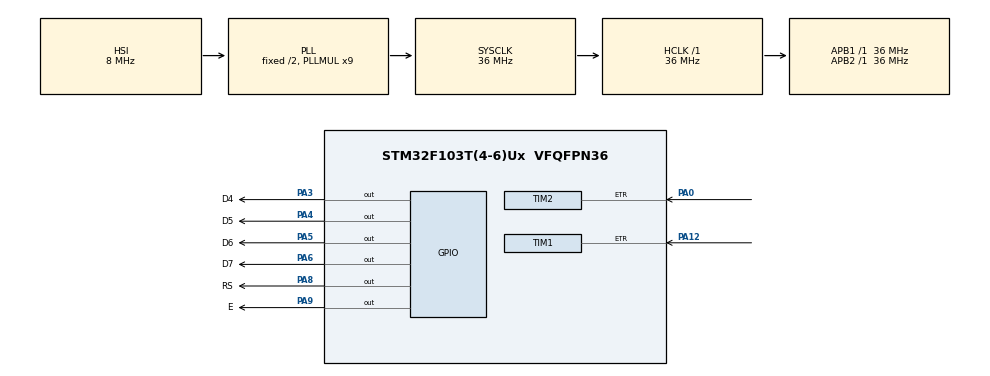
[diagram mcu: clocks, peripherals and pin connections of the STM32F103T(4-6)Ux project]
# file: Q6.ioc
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Mcu.Family=STM32F1
Mcu.Name=STM32F103T(4-6)Ux
Mcu.Package=VFQFPN36
NVIC.PriorityGroup=NVIC_PRIORITYGROUP_4
PA0-WKUP.Signal=S_TIM2_CH1_ETR
PA12.Signal=S_TIM1_ETR
PA3.GPIO_Label=D4
PA3.Signal=GPIO_Output
PA4.GPIO_Label=D5
PA4.Signal=GPIO_Output
PA5.GPIO_Label=D6
PA5.Signal=GPIO_Output
PA6.GPIO_Label=D7
PA6.Signal=GPIO_Output
PA8.GPIO_Label=RS
PA8.Signal=GPIO_Output
PA9.GPIO_Label=E
PA9.Signal=GPIO_Output
ProjectManager.HeapSize=0x200
ProjectManager.StackSize=0x400
ProjectManager.TargetToolchain=STM32CubeIDE
RCC.AHBFreq_Value=36000000
RCC.APB1Freq_Value=36000000
RCC.APB1TimFreq_Value=36000000
RCC.APB2Freq_Value=36000000
RCC.APB2TimFreq_Value=36000000
RCC.HCLKFreq_Value=36000000
RCC.PLLMUL=RCC_PLL_MUL9
RCC.SYSCLKFreq_VALUE=36000000
RCC.SYSCLKSource=RCC_SYSCLKSOURCE_PLLCLK
RCC.USBFreq_Value=36000000
SH.S_TIM1_ETR.0=TIM1_ETR,ClockSourceETR_Mode2
SH.S_TIM2_CH1_ETR.0=TIM2_ETR,ClockSourceETR_Mode2
VP_SYS_VS_ND.Mode=No_Debug
board=custom

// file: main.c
/* USER CODE BEGIN Header */
/**
  ******************************************************************************
  * @file           : main.c
  * @brief          : Main program body
  ******************************************************************************
  * @attention
  *
  * Copyright (c) 2022 STMicroelectronics.
  * All rights reserved.
  *
  * This software is licensed under terms that can be found in the LICENSE file
  * in the root directory of this software component.
  * If no LICENSE file comes with this software, it is provided AS-IS.
  *
  ******************************************************************************
  */
/* USER CODE END Header */
#include "main.h"

/* USER CODE BEGIN Includes */
#include "lcd.h"
#include "stdio.h"
/* USER CODE END Includes */

 TIM_HandleTypeDef htim1;
TIM_HandleTypeDef htim2;

void SystemClock_Config(void);
static void MX_GPIO_Init(void);
static void MX_TIM1_Init(void);
static void MX_TIM2_Init(void);

int main(void)
{

  /* MCU Configuration--------------------------------------------------------*/

  /* Reset of all peripherals, Initializes the Flash interface and the Systick. */
  HAL_Init();

  /* Configure the system clock */
  SystemClock_Config();

  /* Initialize all configured peripherals */
  MX_GPIO_Init();
  MX_TIM1_Init();
  MX_TIM2_Init();
  /* USER CODE BEGIN 2 */
  Lcd_PortType ports [] = {
    		D4_GPIO_Port, D5_GPIO_Port, D6_GPIO_Port, D7_GPIO_Port
    };
  Lcd_PinType pins [] = {
    		D4_Pin, D5_Pin, D6_Pin, D7_Pin
    };

  Lcd_HandleTypeDef lcd = Lcd_create(ports, pins, RS_GPIO_Port, RS_Pin, E_GPIO_Port, E_Pin, LCD_4_BIT_MODE);
  Lcd_cursor(&lcd, 0, 0);
  __HAL_TIM_SetCounter(&htim1, 0);
  HAL_TIM_Base_Start(&htim1);

  /* USER CODE END 2 */

  /* Infinite loop */
  /* USER CODE BEGIN WHILE */
  while (1)
  {
	  int count = __HAL_TIM_GetCounter(&htim1);
	  Lcd_clear(&lcd);
	  Lcd_int(&lcd, count);
    /* USER CODE END WHILE */

  }
}

void SystemClock_Config(void)
{
  RCC_OscInitTypeDef RCC_OscInitStruct = {0};
  RCC_ClkInitTypeDef RCC_ClkInitStruct = {0};

  /** Initializes the RCC Oscillators according to the specified parameters
  * in the RCC_OscInitTypeDef structure.
  */
  RCC_OscInitStruct.OscillatorType = RCC_OSCILLATORTYPE_HSI;
  RCC_OscInitStruct.HSIState = RCC_HSI_ON;
  RCC_OscInitStruct.HSICalibrationValue = RCC_HSICALIBRATION_DEFAULT;
  RCC_OscInitStruct.PLL.PLLState = RCC_PLL_ON;
  RCC_OscInitStruct.PLL.PLLSource = RCC_PLLSOURCE_HSI_DIV2;
  RCC_OscInitStruct.PLL.PLLMUL = RCC_PLL_MUL9;
  if (HAL_RCC_OscConfig(&RCC_OscInitStruct) != HAL_OK)
  {
    Error_Handler();
  }

  /** Initializes the CPU, AHB and APB buses clocks
  */
  RCC_ClkInitStruct.ClockType = RCC_CLOCKTYPE_HCLK|RCC_CLOCKTYPE_SYSCLK
                              |RCC_CLOCKTYPE_PCLK1|RCC_CLOCKTYPE_PCLK2;
  RCC_ClkInitStruct.SYSCLKSource = RCC_SYSCLKSOURCE_PLLCLK;
  RCC_ClkInitStruct.AHBCLKDivider = RCC_SYSCLK_DIV1;
  RCC_ClkInitStruct.APB1CLKDivider = RCC_HCLK_DIV1;
  RCC_ClkInitStruct.APB2CLKDivider = RCC_HCLK_DIV1;

  if (HAL_RCC_ClockConfig(&RCC_ClkInitStruct, FLASH_LATENCY_1) != HAL_OK)
  {
    Error_Handler();
  }
}

static void MX_TIM1_Init(void)
{

  TIM_ClockConfigTypeDef sClockSourceConfig = {0};
  TIM_MasterConfigTypeDef sMasterConfig = {0};

  htim1.Instance = TIM1;
  htim1.Init.Prescaler = 0;
  htim1.Init.CounterMode = TIM_COUNTERMODE_UP;
  htim1.Init.Period = 65535;
  htim1.Init.ClockDivision = TIM_CLOCKDIVISION_DIV1;
  htim1.Init.RepetitionCounter = 0;
  htim1.Init.AutoReloadPreload = TIM_AUTORELOAD_PRELOAD_DISABLE;
  if (HAL_TIM_Base_Init(&htim1) != HAL_OK)
  {
    Error_Handler();
  }
  sClockSourceConfig.ClockSource = TIM_CLOCKSOURCE_ETRMODE2;
  sClockSourceConfig.ClockPolarity = TIM_CLOCKPOLARITY_NONINVERTED;
  sClockSourceConfig.ClockPrescaler = TIM_CLOCKPRESCALER_DIV1;
  sClockSourceConfig.ClockFilter = 0;
  if (HAL_TIM_ConfigClockSource(&htim1, &sClockSourceConfig) != HAL_OK)
  {
    Error_Handler();
  }
  sMasterConfig.MasterOutputTrigger = TIM_TRGO_RESET;
  sMasterConfig.MasterSlaveMode = TIM_MASTERSLAVEMODE_DISABLE;
  if (HAL_TIMEx_MasterConfigSynchronization(&htim1, &sMasterConfig) != HAL_OK)
  {
    Error_Handler();
  }

}

static void MX_TIM2_Init(void)
{

  TIM_ClockConfigTypeDef sClockSourceConfig = {0};
  TIM_MasterConfigTypeDef sMasterConfig = {0};

  htim2.Instance = TIM2;
  htim2.Init.Prescaler = 0;
  htim2.Init.CounterMode = TIM_COUNTERMODE_UP;
  htim2.Init.Period = 65535;
  htim2.Init.ClockDivision = TIM_CLOCKDIVISION_DIV1;
  htim2.Init.AutoReloadPreload = TIM_AUTORELOAD_PRELOAD_DISABLE;
  if (HAL_TIM_Base_Init(&htim2) != HAL_OK)
  {
    Error_Handler();
  }
  sClockSourceConfig.ClockSource = TIM_CLOCKSOURCE_ETRMODE2;
  sClockSourceConfig.ClockPolarity = TIM_CLOCKPOLARITY_NONINVERTED;
  sClockSourceConfig.ClockPrescaler = TIM_CLOCKPRESCALER_DIV1;
  sClockSourceConfig.ClockFilter = 0;
  if (HAL_TIM_ConfigClockSource(&htim2, &sClockSourceConfig) != HAL_OK)
  {
    Error_Handler();
  }
  sMasterConfig.MasterOutputTrigger = TIM_TRGO_RESET;
  sMasterConfig.MasterSlaveMode = TIM_MASTERSLAVEMODE_DISABLE;
  if (HAL_TIMEx_MasterConfigSynchronization(&htim2, &sMasterConfig) != HAL_OK)
  {
    Error_Handler();
  }

}

static void MX_GPIO_Init(void)
{
  GPIO_InitTypeDef GPIO_InitStruct = {0};

  /* GPIO Ports Clock Enable */
  __HAL_RCC_GPIOA_CLK_ENABLE();

  /*Configure GPIO pin Output Level */
  HAL_GPIO_WritePin(GPIOA, D4_Pin|D5_Pin|D6_Pin|D7_Pin
                          |RS_Pin|E_Pin, GPIO_PIN_RESET);

  /*Configure GPIO pins : D4_Pin D5_Pin D6_Pin D7_Pin
                           RS_Pin E_Pin */
  GPIO_InitStruct.Pin = D4_Pin|D5_Pin|D6_Pin|D7_Pin
                          |RS_Pin|E_Pin;
  GPIO_InitStruct.Mode = GPIO_MODE_OUTPUT_PP;
  GPIO_InitStruct.Pull = GPIO_NOPULL;
  GPIO_InitStruct.Speed = GPIO_SPEED_FREQ_LOW;
  HAL_GPIO_Init(GPIOA, &GPIO_InitStruct);

}

void Error_Handler(void)
{
  __disable_irq();
  while (1)
  {
  }
}
